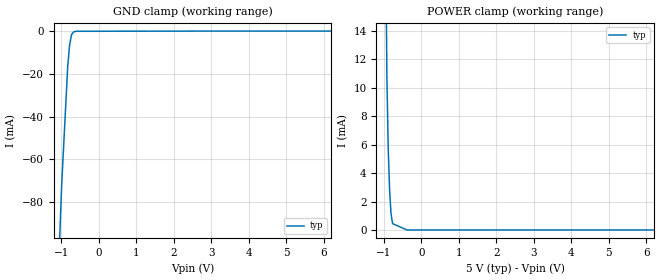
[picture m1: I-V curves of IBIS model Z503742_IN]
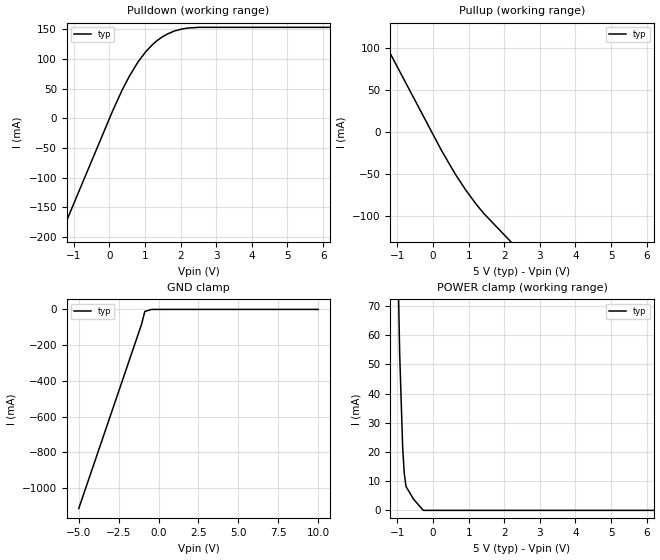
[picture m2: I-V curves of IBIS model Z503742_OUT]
| YOU ARE ONLY AUTHORIZED TO USE THIS SOFTWARE
| ACCORDING TO LICENSOR'S LICENSE RESTRICTIONS.
[IBIS Ver] 3.1
[File Name] mc74ac157n.ibs
[File Rev] 2.0
[Source] Measured and created by ICX Technology
[Date] Friday 7/14/00 9:07:58 AM
[Copyright]
| (C) COPYRIGHT 1993-2000
| MENTOR GRAPHICS CORPORATION
| ICX STANDARD LIBRARY, ICX PROJECT MODELING,
| ICX CUSTOM MODELING, ICX VENDOR MODEL
| ALL RIGHTS RESERVED.
| THE FOLLOWING ARE TRADEMARKS OR SERVICE MARKS OF
| MENTOR GRAPHICS CORPORATION:ICX (R), ICX STANDARD
| LIBRARY(R), ICX PROJECT MODELING(R), ICX CUSTOM
| MODELING(R), qualityIBIS(TM), MODELVIEWER(TM),
| AND MODELEDITOR(TM)
| ALL COPIES OF SOFTWARE, INCLUDING BUT NOT LIMITED TO
| ANY MODIFICATIONS, ENHANCEMENTS OR DERIVATIVE WORKS,
| MUST CONTAIN ALL MENTOR GRAPHICS CORPORATION'S
| NOTICES AND LEGENDS, INCLUDING THOSE EMBEDDED IN
| SOFTWARE AND THOSE AFFIXED TO SOFTWARE MEDIUM
| AND CONTAINER, AS RECEIVED FROM MENTOR GRAPHICS
| CORPORATION.
|  ZAP Model Builder 2.7
[Component] MC74AC157N
[Manufacturer] OnSemiconductor
[Package]
| variable   typ   min   max
R_pkg  .212ohms NA NA
L_pkg  4.758nH NA NA
C_pkg  1.143pF NA NA
[Pin] signal_name  model_name  R_pin  L_pin C_pin
1 B_A Z503742_IN .224 7.258n 1.578p
2 A0 Z503742_IN .216 5.258n 1.288p
3 B0 Z503742_IN .208 3.758n .998p
4 Y0 Z503742_OUT .2 2.758n .708p
5 A1 Z503742_IN .2 2.758n .708p
6 B1 Z503742_IN .208 3.758n .998p
7 Y1 Z503742_OUT .216 5.258n 1.288p
8 GND GND .224 7.258n 1.578p
9 Y2 Z503742_OUT .224 7.258n 1.578p
10 B2 Z503742_IN .216 5.258n 1.288p
11 A2 Z503742_IN .208 3.758n .998p
12 Y3 Z503742_OUT .2 2.758n .708p
13 B3 Z503742_IN .2 2.758n .708p
14 A3 Z503742_IN .208 3.758n .998p
15 _G Z503742_IN .216 5.258n 1.288p
16 VCC POWER .224 7.258n 1.578p
| Models and submodels in the file (2): Z503742_IN (Input), Z503742_OUT (Output)
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| (C) COPYRIGHT 1993-2000
| MENTOR GRAPHICS CORPORATION
| ICX STANDARD LIBRARY, ICX PROJECT MODELING,
| ICX CUSTOM MODELING, ICX VENDOR MODEL
| ALL RIGHTS RESERVED.
| THE FOLLOWING ARE TRADEMARKS OR SERVICE MARKS OF
| MENTOR GRAPHICS CORPORATION:ICX (R), ICX STANDARD
| LIBRARY(R), ICX PROJECT MODELING(R), ICX CUSTOM
| MODELING(R), qualityIBIS(TM), MODELVIEWER(TM),
| AND MODELEDITOR(TM)
| ALL COPIES OF SOFTWARE, INCLUDING BUT NOT LIMITED TO
| ANY MODIFICATIONS, ENHANCEMENTS OR DERIVATIVE WORKS,
| MUST CONTAIN ALL MENTOR GRAPHICS CORPORATION'S
| NOTICES AND LEGENDS, INCLUDING THOSE EMBEDDED IN
| SOFTWARE AND THOSE AFFIXED TO SOFTWARE MEDIUM
| AND CONTAINER, AS RECEIVED FROM MENTOR GRAPHICS
| CORPORATION.
| Model Application Version 1.89 2/18/99.
[Model] Z503742_IN
Model_type Input
Vinl = 1.500V
Vinh = 3.500V
C_comp 4.000pF NA NA
| variable typ   min   max
[Voltage Range] 5.000V NA NA
[GND Clamp Reference] 0.000V NA NA
[POWER Clamp Reference] 5.000V NA NA
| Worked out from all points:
|   GND clamp passes 1 mA (typ) near -0.71 V on its own axis
|   POWER clamp passes 1 mA (typ) near -0.80 V on its own axis
[GND Clamp]
-5V       -2.581A    NA         NA
-1.045V   -97.64mA   NA         NA
-989.7mV  -71.59mA   NA         NA
-830.1mV  -16.59mA   NA         NA
-781.3mV  -6.622mA   NA         NA
-727.8mV  -1.517mA   NA         NA
-685mV    -391.3uA   NA         NA
-645.5mV  -59.51uA   NA         NA
10V       179.8uA    NA         NA
[POWER Clamp]
-5V       2.912A     NA         NA
-1.113V   92.16mA    NA         NA
-1.01V    38.79mA    NA         NA
-918mV    10.76mA    NA         NA
-884mV    5.859mA    NA         NA
-846mV    2.817mA    NA         NA
-810mV    1.203mA    NA         NA
-767mV    445.6uA    NA         NA
-383.5mV  0A         NA         NA
10V       0A         NA         NA
| (C) COPYRIGHT 1993-2000
| MENTOR GRAPHICS CORPORATION
| ICX STANDARD LIBRARY, ICX PROJECT MODELING,
| ICX CUSTOM MODELING, ICX VENDOR MODEL
| ALL RIGHTS RESERVED.
| THE FOLLOWING ARE TRADEMARKS OR SERVICE MARKS OF
| MENTOR GRAPHICS CORPORATION:ICX (R), ICX STANDARD
| LIBRARY(R), ICX PROJECT MODELING(R), ICX CUSTOM
| MODELING(R), qualityIBIS(TM), MODELVIEWER(TM),
| AND MODELEDITOR(TM)
| ALL COPIES OF SOFTWARE, INCLUDING BUT NOT LIMITED TO
| ANY MODIFICATIONS, ENHANCEMENTS OR DERIVATIVE WORKS,
| MUST CONTAIN ALL MENTOR GRAPHICS CORPORATION'S
| NOTICES AND LEGENDS, INCLUDING THOSE EMBEDDED IN
| SOFTWARE AND THOSE AFFIXED TO SOFTWARE MEDIUM
| AND CONTAINER, AS RECEIVED FROM MENTOR GRAPHICS
| CORPORATION.
| Model Application Version 1.89 2/18/99.
[Model] Z503742_OUT
Model_type Output
Vref=0.000V
Rref=500.0ohms
Cref=50.00pF
Vmeas=2.500V
C_comp 8.000pF NA NA
| variable typ   min   max
[Voltage Range] 5.000V NA NA
[POWER Clamp Reference] 5.000V NA NA
[Pullup Reference] 5.000V NA NA
[Pulldown Reference] 0.000V NA NA
[GND Clamp Reference] 0.000V NA NA
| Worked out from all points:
|   slope of the pulldown table from 0 to 0.75 V, typ, clamps not added: 8.34 ohm
|   slope of the pullup table from 0 to 0.75 V, typ, clamps not added: 13.6 ohm
[GND Clamp]
-5V       -1.114A    NA         NA
-1.069V   -84.05mA   NA         NA
-862.6mV  -11.39mA   NA         NA
-431.3mV  0A         NA         NA
10V       0A         NA         NA
[Pulldown]
-5V       -715.7mA   NA         NA
92.77mV   13.35mA    NA         NA
356.5mV   47.9mA     NA         NA
551.8mV   70.48mA    NA         NA
801.7mV   95.14mA    NA         NA
1.022V    112.7mA    NA         NA
1.343V    131.4mA    NA         NA
1.496V    137.9mA    NA         NA
1.822V    147.3mA    NA         NA
2.158V    151.9mA    NA         NA
2.497V    153.5mA    NA         NA
10V       153.5mA    NA         NA
[Pullup]
-5V       398.1mA    NA         NA
239mV     -22.02mA   NA         NA
628mV     -50.33mA   NA         NA
928mV     -69.58mA   NA         NA
1.209V    -85.76mA   NA         NA
1.416V    -96.45mA   NA         NA
10V       -478.1mA   NA         NA
[POWER Clamp]
-5V       3.194A     NA         NA
-1.05V    124.2mA    NA         NA
-937mV    53.42mA    NA         NA
-854mV    21.65mA    NA         NA
-810mV    12.75mA    NA         NA
-761mV    8.204mA    NA         NA
-547mV    3.804mA    NA         NA
-273.5mV  0A         NA         NA
10V       0A         NA         NA
[Ramp]
| variable typ min max
dV/dt_r 2.948/385.6p NA NA
dV/dt_f 2.948/340.1p NA NA
R_load = 500.0Ohms
